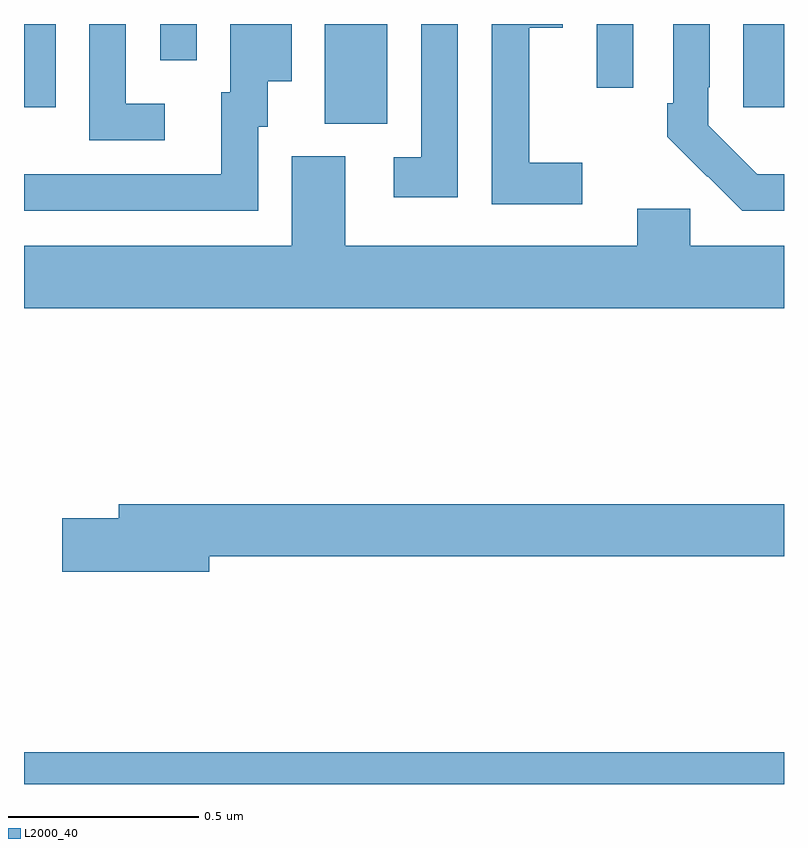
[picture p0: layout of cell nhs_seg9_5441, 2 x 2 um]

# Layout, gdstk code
import gdstk
lib = gdstk.Library(unit=1e-6, precision=1e-09)
def R(c, l, rs):  # rectangles x0, y0, x1, y1
    for r in rs: c.add(gdstk.rectangle(r[:2], r[2:], *l))
def P(c, l, *ps):  # polygons
    for p in ps: c.add(gdstk.Polygon(p, *l))
L2000_40 = (2000, 40)

nhs_seg9_5441 = lib.new_cell('nhs_seg9_5441')
R(nhs_seg9_5441, L2000_40, [(179,1196.5,181,1196.584), (179.792,1198.237,179.956,1198.5), (179,1198.281,179.083,1198.5), (180.893,1198.281,181,1198.5), (180.507,1198.332,180.603,1198.5), (179.358,1198.404,179.454,1198.5)])
P(nhs_seg9_5441, L2000_40, [(179.616,1198.23),(179.641,1198.23),(179.641,1198.349),(179.704,1198.349),(179.704,1198.5),(179.543,1198.5),(179.543,1198.32),(179.519,1198.32),(179.519,1198.104),(179.035,1198.104),(179.035,1198.105),(179,1198.105),(179,1198.008),(179.616,1198.008)],
  [(179.371,1198.29),(179.268,1198.29),(179.268,1198.5),(179.172,1198.5),(179.172,1198.194),(179.371,1198.194)],
  [(180.469,1198.135),(180.329,1198.135),(180.329,1198.49),(180.418,1198.49),(180.418,1198.5),(180.231,1198.5),(180.231,1198.026),(180.469,1198.026)],
  [(181,1198.105),(180.93,1198.105),(180.801,1198.233),(180.801,1198.333),(180.804,1198.333),(180.804,1198.5),(180.708,1198.5),(180.708,1198.291),(180.693,1198.291),(180.693,1198.203),(180.798,1198.098),(180.799,1198.099),(180.89,1198.008),(181,1198.008)],
  [(180.141,1198.5),(180.045,1198.5),(180.045,1198.149),(179.973,1198.149),(179.973,1198.044),(180.141,1198.044)],
  [(181,1197.916),(180.753,1197.916),(180.753,1198.014),(180.614,1198.014),(180.614,1197.916),(179.845,1197.916),(179.845,1198.152),(179.705,1198.152),(179.705,1197.916),(179,1197.916),(179,1197.752),(181,1197.752)],
  [(179.488,1197.1),(181,1197.1),(181,1197.236),(179.249,1197.236),(179.249,1197.2),(179.1,1197.2),(179.1,1197.058),(179.488,1197.058)])

lib.write_gds('nhs_seg9_5441.gds')
